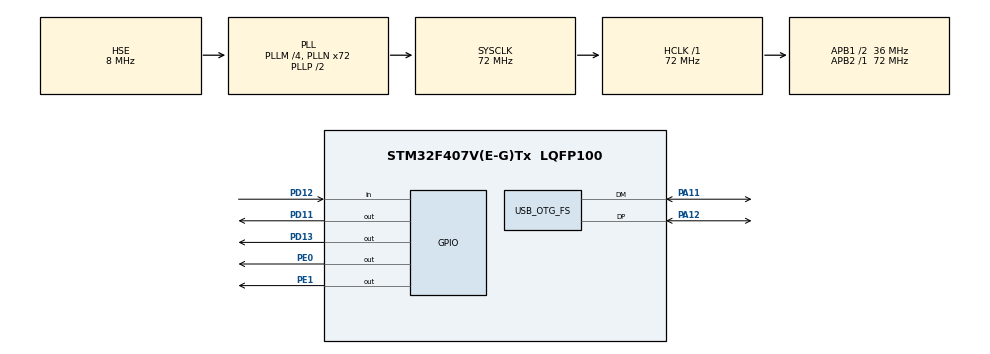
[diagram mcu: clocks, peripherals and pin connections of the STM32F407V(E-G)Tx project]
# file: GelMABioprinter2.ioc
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Mcu.Family=STM32F4
Mcu.Name=STM32F407V(E-G)Tx
Mcu.Package=LQFP100
NVIC.OTG_FS_IRQn=true\:0\:0\:false\:false\:true\:false\:true\:true
NVIC.PriorityGroup=NVIC_PRIORITYGROUP_4
PA11.Mode=Device_Only
PA11.Signal=USB_OTG_FS_DM
PA12.Mode=Device_Only
PA12.Signal=USB_OTG_FS_DP
PA13.Mode=Serial_Wire
PA13.Signal=SYS_JTMS-SWDIO
PA14.Mode=Serial_Wire
PA14.Signal=SYS_JTCK-SWCLK
PB3.Signal=SYS_JTDO-SWO
PD11.Signal=GPIO_Output
PD12.Signal=GPIO_Input
PD13.PinState=GPIO_PIN_SET
PD13.Signal=GPIO_Output
PE0.Signal=GPIO_Output
PE1.Signal=GPIO_Output
PH0-OSC_IN.Mode=HSE-External-Oscillator
PH0-OSC_IN.Signal=RCC_OSC_IN
PH1-OSC_OUT.Mode=HSE-External-Oscillator
PH1-OSC_OUT.Signal=RCC_OSC_OUT
ProjectManager.HeapSize=0x200
ProjectManager.StackSize=0x400
ProjectManager.TargetToolchain=STM32CubeIDE
RCC.48MHZClocksFreq_Value=48000000
RCC.AHBFreq_Value=72000000
RCC.APB1CLKDivider=RCC_HCLK_DIV2
RCC.APB1Freq_Value=36000000
RCC.APB1TimFreq_Value=72000000
RCC.APB2Freq_Value=72000000
RCC.APB2TimFreq_Value=72000000
RCC.CortexFreq_Value=72000000
RCC.HCLKFreq_Value=72000000
RCC.HSE_VALUE=8000000
RCC.HSI_VALUE=16000000
RCC.LSE_VALUE=32768
RCC.PLLM=4
RCC.PLLN=72
RCC.PLLQ=3
RCC.SYSCLKFreq_VALUE=72000000
RCC.SYSCLKSource=RCC_SYSCLKSOURCE_PLLCLK
RCC.VCOOutputFreq_Value=144000000
TIM2.Period=65535
TIM2.Prescaler=71
USB_DEVICE.CLASS_NAME_FS=CDC
USB_DEVICE.VirtualMode-CDC_FS=Cdc
USB_DEVICE.VirtualModeFS=Cdc_FS
USB_OTG_FS.VirtualMode=Device_Only
VP_TIM2_VS_ClockSourceINT.Mode=Internal
VP_USB_DEVICE_VS_USB_DEVICE_CDC_FS.Mode=CDC_FS
board=custom

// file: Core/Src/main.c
/* USER CODE BEGIN Header */
/**
  ******************************************************************************
  * @file           : main.c
  * @brief          : Main program body
  ******************************************************************************
  * @attention
  *
  * Copyright (c) 2025 STMicroelectronics.
  * All rights reserved.
  *
  * This software is licensed under terms that can be found in the LICENSE file
  * in the root directory of this software component.
  * If no LICENSE file comes with this software, it is provided AS-IS.
  *
  ******************************************************************************
  */
/* USER CODE END Header */
#include "main.h"
#include "usb_device.h"

/* USER CODE BEGIN Includes */
#include <math.h>
#include "string.h"
#include "usbd_def.h"
#include "usbd_cdc_if.h"

/* USER CODE END Includes */

TIM_HandleTypeDef htim2;

void SystemClock_Config(void);
static void MX_GPIO_Init(void);
static void MX_TIM2_Init(void);

/* USER CODE BEGIN 0 */
#define DT_PIN GPIO_PIN_12
#define DT_PORT GPIOD
#define SCK_PIN GPIO_PIN_11
#define SCK_PORT GPIOD

uint32_t tare = 4273348;
float knownOriginal = 15000000;  // in milli gram
float knownHX711 = 25437;
int weight;

void microDelay(uint16_t delay)
{
  __HAL_TIM_SET_COUNTER(&htim2, 0);
  while (__HAL_TIM_GET_COUNTER(&htim2) < delay);
}

int32_t getHX711(void)
{
  uint32_t data = 0;
  uint32_t startTime = HAL_GetTick();
  while(HAL_GPIO_ReadPin(DT_PORT, DT_PIN) == GPIO_PIN_SET)
  {
    if(HAL_GetTick() - startTime > 200)
      return 0;
  }
  for(int8_t len=0; len<24 ; len++)
  {
    HAL_GPIO_WritePin(SCK_PORT, SCK_PIN, GPIO_PIN_SET);
    microDelay(1);
    data = data << 1;
    HAL_GPIO_WritePin(SCK_PORT, SCK_PIN, GPIO_PIN_RESET);
    microDelay(1);
    if(HAL_GPIO_ReadPin(DT_PORT, DT_PIN) == GPIO_PIN_SET)
      data ++;
  }
  data = data ^ 0x800000;
  HAL_GPIO_WritePin(SCK_PORT, SCK_PIN, GPIO_PIN_SET);
  microDelay(1);
  HAL_GPIO_WritePin(SCK_PORT, SCK_PIN, GPIO_PIN_RESET);
  microDelay(1);
  return data;
}

int weigh()
{
  int32_t  total = 0;
  int32_t  samples = 50;
  int milligram;
  float coefficient;
  for(uint16_t i=0 ; i<samples ; i++)
  {
      total += getHX711();
  }
  int32_t average = (int32_t)(total / samples);
  coefficient = knownOriginal / knownHX711;
  milligram = (int)(average-tare)*coefficient;
  return milligram/1000000;
}
/* USER CODE END 0 */

int main(void)
{

  /* MCU Configuration--------------------------------------------------------*/

  /* Reset of all peripherals, Initializes the Flash interface and the Systick. */
  HAL_Init();

  /* Configure the system clock */
  SystemClock_Config();

  /* Initialize all configured peripherals */
  MX_GPIO_Init();
  MX_USB_DEVICE_Init();
  MX_TIM2_Init();
  /* USER CODE BEGIN 2 */
  HAL_TIM_Base_Start(&htim2);
  HAL_GPIO_WritePin(SCK_PORT, SCK_PIN, GPIO_PIN_SET);
  HAL_Delay(10);
  HAL_GPIO_WritePin(SCK_PORT, SCK_PIN, GPIO_PIN_RESET);
  HAL_Delay(10);
  /* USER CODE END 2 */

  /* Infinite loop */
  /* USER CODE BEGIN WHILE */
  while (1)
  {
	  weight = weigh(); // in milligram
	  float grams = weight / 1000.0f;   // convert mg → g
	  	  char buf[32];                     // buffer for string
	  	  int len = snprintf(buf, sizeof(buf), "%.3f\r\n", grams); // 3 decimals, e.g. 12.345

	  	  CDC_Transmit_FS((uint8_t*)buf, len);
	  	  HAL_Delay(100);
	  HAL_GPIO_TogglePin(GPIOE, GPIO_PIN_1);
	  HAL_Delay(100);           // 100 ms between toggles -> 5 Hz blink

    /* USER CODE END WHILE */

  }
}

void SystemClock_Config(void)
{
  RCC_OscInitTypeDef RCC_OscInitStruct = {0};
  RCC_ClkInitTypeDef RCC_ClkInitStruct = {0};

  /** Configure the main internal regulator output voltage
  */
  __HAL_RCC_PWR_CLK_ENABLE();
  __HAL_PWR_VOLTAGESCALING_CONFIG(PWR_REGULATOR_VOLTAGE_SCALE1);

  /** Initializes the RCC Oscillators according to the specified parameters
  * in the RCC_OscInitTypeDef structure.
  */
  RCC_OscInitStruct.OscillatorType = RCC_OSCILLATORTYPE_HSE;
  RCC_OscInitStruct.HSEState = RCC_HSE_ON;
  RCC_OscInitStruct.PLL.PLLState = RCC_PLL_ON;
  RCC_OscInitStruct.PLL.PLLSource = RCC_PLLSOURCE_HSE;
  RCC_OscInitStruct.PLL.PLLM = 4;
  RCC_OscInitStruct.PLL.PLLN = 72;
  RCC_OscInitStruct.PLL.PLLP = RCC_PLLP_DIV2;
  RCC_OscInitStruct.PLL.PLLQ = 3;
  if (HAL_RCC_OscConfig(&RCC_OscInitStruct) != HAL_OK)
  {
    Error_Handler();
  }

  /** Initializes the CPU, AHB and APB buses clocks
  */
  RCC_ClkInitStruct.ClockType = RCC_CLOCKTYPE_HCLK|RCC_CLOCKTYPE_SYSCLK
                              |RCC_CLOCKTYPE_PCLK1|RCC_CLOCKTYPE_PCLK2;
  RCC_ClkInitStruct.SYSCLKSource = RCC_SYSCLKSOURCE_PLLCLK;
  RCC_ClkInitStruct.AHBCLKDivider = RCC_SYSCLK_DIV1;
  RCC_ClkInitStruct.APB1CLKDivider = RCC_HCLK_DIV2;
  RCC_ClkInitStruct.APB2CLKDivider = RCC_HCLK_DIV1;

  if (HAL_RCC_ClockConfig(&RCC_ClkInitStruct, FLASH_LATENCY_2) != HAL_OK)
  {
    Error_Handler();
  }
}

static void MX_TIM2_Init(void)
{

  TIM_ClockConfigTypeDef sClockSourceConfig = {0};
  TIM_MasterConfigTypeDef sMasterConfig = {0};

  htim2.Instance = TIM2;
  htim2.Init.Prescaler = 71;
  htim2.Init.CounterMode = TIM_COUNTERMODE_UP;
  htim2.Init.Period = 65535;
  htim2.Init.ClockDivision = TIM_CLOCKDIVISION_DIV1;
  htim2.Init.AutoReloadPreload = TIM_AUTORELOAD_PRELOAD_DISABLE;
  if (HAL_TIM_Base_Init(&htim2) != HAL_OK)
  {
    Error_Handler();
  }
  sClockSourceConfig.ClockSource = TIM_CLOCKSOURCE_INTERNAL;
  if (HAL_TIM_ConfigClockSource(&htim2, &sClockSourceConfig) != HAL_OK)
  {
    Error_Handler();
  }
  sMasterConfig.MasterOutputTrigger = TIM_TRGO_RESET;
  sMasterConfig.MasterSlaveMode = TIM_MASTERSLAVEMODE_DISABLE;
  if (HAL_TIMEx_MasterConfigSynchronization(&htim2, &sMasterConfig) != HAL_OK)
  {
    Error_Handler();
  }

}

static void MX_GPIO_Init(void)
{
  GPIO_InitTypeDef GPIO_InitStruct = {0};

  /* GPIO Ports Clock Enable */
  __HAL_RCC_GPIOH_CLK_ENABLE();
  __HAL_RCC_GPIOD_CLK_ENABLE();
  __HAL_RCC_GPIOA_CLK_ENABLE();
  __HAL_RCC_GPIOB_CLK_ENABLE();
  __HAL_RCC_GPIOE_CLK_ENABLE();

  /*Configure GPIO pin Output Level */
  HAL_GPIO_WritePin(GPIOD, GPIO_PIN_11, GPIO_PIN_RESET);

  /*Configure GPIO pin Output Level */
  HAL_GPIO_WritePin(GPIOD, GPIO_PIN_13, GPIO_PIN_SET);

  /*Configure GPIO pin Output Level */
  HAL_GPIO_WritePin(GPIOE, GPIO_PIN_0|GPIO_PIN_1, GPIO_PIN_RESET);

  /*Configure GPIO pins : PD11 PD13 */
  GPIO_InitStruct.Pin = GPIO_PIN_11|GPIO_PIN_13;
  GPIO_InitStruct.Mode = GPIO_MODE_OUTPUT_PP;
  GPIO_InitStruct.Pull = GPIO_NOPULL;
  GPIO_InitStruct.Speed = GPIO_SPEED_FREQ_LOW;
  HAL_GPIO_Init(GPIOD, &GPIO_InitStruct);

  /*Configure GPIO pin : PD12 */
  GPIO_InitStruct.Pin = GPIO_PIN_12;
  GPIO_InitStruct.Mode = GPIO_MODE_INPUT;
  GPIO_InitStruct.Pull = GPIO_NOPULL;
  HAL_GPIO_Init(GPIOD, &GPIO_InitStruct);

  /*Configure GPIO pins : PE0 PE1 */
  GPIO_InitStruct.Pin = GPIO_PIN_0|GPIO_PIN_1;
  GPIO_InitStruct.Mode = GPIO_MODE_OUTPUT_PP;
  GPIO_InitStruct.Pull = GPIO_NOPULL;
  GPIO_InitStruct.Speed = GPIO_SPEED_FREQ_LOW;
  HAL_GPIO_Init(GPIOE, &GPIO_InitStruct);

}

void Error_Handler(void)
{
  __disable_irq();
  while (1)
  {
  }
}
